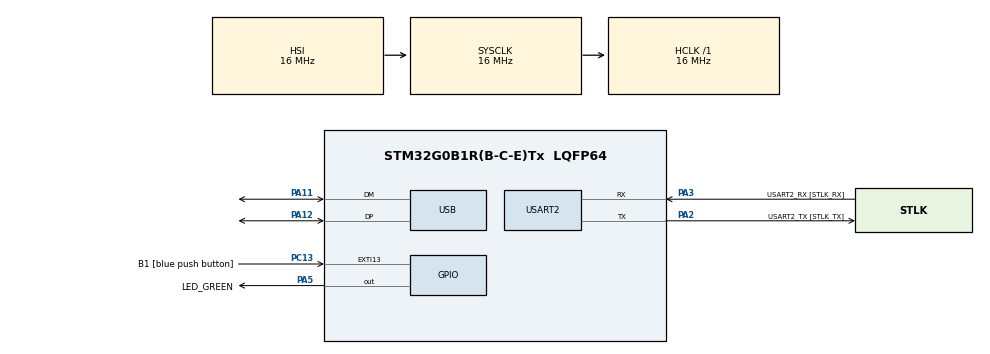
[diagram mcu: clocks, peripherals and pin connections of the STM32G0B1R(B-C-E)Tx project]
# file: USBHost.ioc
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Mcu.Family=STM32G0
Mcu.Name=STM32G0B1R(B-C-E)Tx
Mcu.Package=LQFP64
NVIC.USB_UCPD1_2_IRQn=true\:0\:0\:false\:false\:true\:true\:true\:true
PA11\ [PA9].Mode=Host
PA11\ [PA9].Signal=USB_DM
PA12\ [PA10].Mode=Host
PA12\ [PA10].Signal=USB_DP
PA13.GPIO_Label=TMS
PA13.Mode=Serial_Wire
PA13.Signal=SYS_SWDIO
PA14-BOOT0.GPIO_Label=TCK
PA14-BOOT0.Mode=Serial_Wire
PA14-BOOT0.Signal=SYS_SWCLK
PA2.GPIO_Label=USART2_TX [STLK_TX]
PA2.Mode=Asynchronous
PA2.Signal=USART2_TX
PA3.GPIO_Label=USART2_RX [STLK_RX]
PA3.Mode=Asynchronous
PA3.Signal=USART2_RX
PA5.GPIO_Label=LED_GREEN
PA5.GPIO_Speed=GPIO_SPEED_FREQ_HIGH
PA5.Signal=GPIO_Output
PC13.GPIO_Label=B1 [blue push button]
PC13.Signal=GPXTI13
PC14-OSC32_IN\ (PC14).Mode=LSE-External-Oscillator
PC14-OSC32_IN\ (PC14).Signal=RCC_OSC32_IN
PC15-OSC32_OUT\ (PC15).Mode=LSE-External-Oscillator
PC15-OSC32_OUT\ (PC15).Signal=RCC_OSC32_OUT
PF0-OSC_IN\ (PF0).GPIO_Label=MCO
PF0-OSC_IN\ (PF0).Mode=HSE-External-Clock-Source
PF0-OSC_IN\ (PF0).Signal=RCC_OSC_IN
ProjectManager.HeapSize=0x200
ProjectManager.StackSize=0x400
ProjectManager.TargetToolchain=STM32CubeIDE
RCC.AHBFreq_Value=16000000
RCC.CortexFreq_Value=16000000
RCC.EXTERNAL_CLOCK_VALUE=12288000
RCC.HCLKFreq_Value=16000000
RCC.HSE_VALUE=8000000
RCC.HSI48_VALUE=48000000
RCC.HSI_VALUE=16000000
RCC.SYSCLKFreq_VALUE=16000000
RCC.USBFreq_Value=48000000
RCC.VCOOutputFreq_Value=128000000
USART2.VirtualMode-Asynchronous=VM_ASYNC
USB_HOST.SW_VBUS_DRIVE_CDC_FS=true
USB_HOST.VirtualModeFS=Cdc
VP_SYS_VS_DBSignals.Mode=DisableDeadBatterySignals
VP_USB_HOST_VS_USB_HOST_CDC_FS.Mode=CDC_FS
board=NUCLEO-G0B1RE

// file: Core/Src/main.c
/* USER CODE BEGIN Header */
/**
 ******************************************************************************
 * @file           : main.c
 * @brief          : Main program body
 ******************************************************************************
 * @attention
 *
 * Copyright (c) 2025 STMicroelectronics.
 * All rights reserved.
 *
 * This software is licensed under terms that can be found in the LICENSE file
 * in the root directory of this software component.
 * If no LICENSE file comes with this software, it is provided AS-IS.
 *
 ******************************************************************************
 */
/* USER CODE END Header */
#include "main.h"
#include "usb_host.h"

/* USER CODE BEGIN Includes */

#include "usbh_cdc.h"
/* USER CODE END Includes */

UART_HandleTypeDef huart2;

/* USER CODE BEGIN PV */

extern USBH_HandleTypeDef hUsbHostFS;
extern ApplicationTypeDef Appli_state;
CDC_LineCodingTypeDef lineCoding;
CDC_HandleTypeDef *CDC_Handle;

uint16_t M_USB_STATE = USER_USB_IDLE;
uint16_t usb_readLength = 0;

/* USER CODE END PV */

void SystemClock_Config(void);
static void MX_GPIO_Init(void);
static void MX_USART2_UART_Init(void);
void MX_USB_HOST_Process(void);

uint8_t txBuff[32] = { 1, 2, 3, 4, 5 };
uint8_t rxBuff[32] = { 0, };

int main(void) {

	/* MCU Configuration--------------------------------------------------------*/

	/* Reset of all peripherals, Initializes the Flash interface and the Systick. */
	HAL_Init();

	/* Configure the system clock */
	SystemClock_Config();

	/* Initialize all configured peripherals */
	MX_GPIO_Init();
	MX_USART2_UART_Init();
	MX_USB_Host_Init();

	/* Infinite loop */
	while (1) {
		MX_USB_HOST_Process();

		/* USER CODE BEGIN 3 */
		// USB Host
				if (Appli_state == APPLICATION_READY) {
					// LampS connected to host and ready to communication

					switch (M_USB_STATE) {
						case USER_USB_IDLE:
							break;

						case USER_USB_SET_LINE_CODING:
							// set line coding
							// this state called when USB host state is HOST_USER_CLASS_ACTIVE
							// state changed at USBH_UserProcess() in usb_host.c
							lineCoding.b.dwDTERate = 115200;
							lineCoding.b.bCharFormat = 0;
							lineCoding.b.bDataBits = 8;
							lineCoding.b.bParityType = 0;

							USBH_CDC_SetLineCoding(&hUsbHostFS, &lineCoding);
							M_USB_STATE = USER_USB_IDLE;
							break;

						case USER_USB_SET_LINE_STATE:
							// set DTS and RTS for ACM device
							// this state called when line coding changed
							// state changed at USBH_CDC_LineCodingChanged() in main.c
							USBH_CDC_SetLineState(&hUsbHostFS, 0x03); // set DTS=1 and RTS=1
							M_USB_STATE = USER_USB_IDLE;
							break;

						case USER_USB_READ_DATA:
							break;

						case USER_USB_WRITE_DATA:
							txBuff[0] = 1;
							txBuff[1] = 2;
							txBuff[2] = 3;
							txBuff[3] = 4;

							usb_readLength = 8;
							if (USBH_CDC_Transmit(&hUsbHostFS, txBuff, 4) == USBH_OK) {

							}

							M_USB_STATE = USER_USB_IDLE;
							break;
					}
				}
	}
	/* USER CODE END 3 */
}

void SystemClock_Config(void) {
	RCC_OscInitTypeDef RCC_OscInitStruct = { 0 };
	RCC_ClkInitTypeDef RCC_ClkInitStruct = { 0 };

	/** Configure the main internal regulator output voltage
	 */
	HAL_PWREx_ControlVoltageScaling(PWR_REGULATOR_VOLTAGE_SCALE1);

	/** Initializes the RCC Oscillators according to the specified parameters
	 * in the RCC_OscInitTypeDef structure.
	 */
	RCC_OscInitStruct.OscillatorType = RCC_OSCILLATORTYPE_HSI
			| RCC_OSCILLATORTYPE_HSI48;
	RCC_OscInitStruct.HSIState = RCC_HSI_ON;
	RCC_OscInitStruct.HSI48State = RCC_HSI48_ON;
	RCC_OscInitStruct.HSIDiv = RCC_HSI_DIV1;
	RCC_OscInitStruct.HSICalibrationValue = RCC_HSICALIBRATION_DEFAULT;
	RCC_OscInitStruct.PLL.PLLState = RCC_PLL_NONE;
	if (HAL_RCC_OscConfig(&RCC_OscInitStruct) != HAL_OK) {
		Error_Handler();
	}

	/** Initializes the CPU, AHB and APB buses clocks
	 */
	RCC_ClkInitStruct.ClockType = RCC_CLOCKTYPE_HCLK | RCC_CLOCKTYPE_SYSCLK
			| RCC_CLOCKTYPE_PCLK1;
	RCC_ClkInitStruct.SYSCLKSource = RCC_SYSCLKSOURCE_HSI;
	RCC_ClkInitStruct.AHBCLKDivider = RCC_SYSCLK_DIV1;
	RCC_ClkInitStruct.APB1CLKDivider = RCC_HCLK_DIV1;

	if (HAL_RCC_ClockConfig(&RCC_ClkInitStruct, FLASH_LATENCY_0) != HAL_OK) {
		Error_Handler();
	}
}

static void MX_USART2_UART_Init(void) {

	huart2.Instance = USART2;
	huart2.Init.BaudRate = 115200;
	huart2.Init.WordLength = UART_WORDLENGTH_8B;
	huart2.Init.StopBits = UART_STOPBITS_1;
	huart2.Init.Parity = UART_PARITY_NONE;
	huart2.Init.Mode = UART_MODE_TX_RX;
	huart2.Init.HwFlowCtl = UART_HWCONTROL_NONE;
	huart2.Init.OverSampling = UART_OVERSAMPLING_16;
	huart2.Init.OneBitSampling = UART_ONE_BIT_SAMPLE_DISABLE;
	huart2.Init.ClockPrescaler = UART_PRESCALER_DIV1;
	huart2.AdvancedInit.AdvFeatureInit = UART_ADVFEATURE_NO_INIT;
	if (HAL_UART_Init(&huart2) != HAL_OK) {
		Error_Handler();
	}
	if (HAL_UARTEx_SetTxFifoThreshold(&huart2, UART_TXFIFO_THRESHOLD_1_8)
			!= HAL_OK) {
		Error_Handler();
	}
	if (HAL_UARTEx_SetRxFifoThreshold(&huart2, UART_RXFIFO_THRESHOLD_1_8)
			!= HAL_OK) {
		Error_Handler();
	}
	if (HAL_UARTEx_DisableFifoMode(&huart2) != HAL_OK) {
		Error_Handler();
	}

}

static void MX_GPIO_Init(void) {
	GPIO_InitTypeDef GPIO_InitStruct = { 0 };

	/* GPIO Ports Clock Enable */
	__HAL_RCC_GPIOC_CLK_ENABLE();
	__HAL_RCC_GPIOF_CLK_ENABLE();
	__HAL_RCC_GPIOA_CLK_ENABLE();

	/*Configure GPIO pin Output Level */
	HAL_GPIO_WritePin(LED_GREEN_GPIO_Port, LED_GREEN_Pin, GPIO_PIN_RESET);

	/*Configure GPIO pin : B1_Pin */
	GPIO_InitStruct.Pin = B1_Pin;
	GPIO_InitStruct.Mode = GPIO_MODE_IT_RISING;
	GPIO_InitStruct.Pull = GPIO_NOPULL;
	HAL_GPIO_Init(B1_GPIO_Port, &GPIO_InitStruct);

	/*Configure GPIO pin : LED_GREEN_Pin */
	GPIO_InitStruct.Pin = LED_GREEN_Pin;
	GPIO_InitStruct.Mode = GPIO_MODE_OUTPUT_PP;
	GPIO_InitStruct.Pull = GPIO_NOPULL;
	GPIO_InitStruct.Speed = GPIO_SPEED_FREQ_HIGH;
	HAL_GPIO_Init(LED_GREEN_GPIO_Port, &GPIO_InitStruct);

}

/* USER CODE BEGIN 4 */
/**
 * @brief  line coding changed callback
 * @param  phost: usb host handler
 * @retval None
 */
void USBH_CDC_LineCodingChanged(USBH_HandleTypeDef *phost) {
	// line coding done
	M_USB_STATE = USER_USB_SET_LINE_STATE;
}

/**
 * @brief  line state changed callback
 * @param  phost: usb host handler
 * @retval None
 */
void USBH_CDC_LineStateChanged(USBH_HandleTypeDef *phost) {
	M_USB_STATE = USER_USB_WRITE_DATA;
}

/**
 * @brief  cdc data received callback
 * @param  phost: usb host handler
 * @retval None
 */
void USBH_CDC_ReceiveCallback(USBH_HandleTypeDef *phost) {
	// read received data
	M_USB_STATE = USER_USB_IDLE;
}

/**
 * @brief  cdc data trasmit callback
 * @param  phost: usb host handler
 * @retval None
 */
void USBH_CDC_TransmitCallback(USBH_HandleTypeDef *phost) {
	// set read buffer for reading response data
	if (USBH_CDC_Receive(&hUsbHostFS, rxBuff, usb_readLength) == USBH_OK) {
		txBuff[0] = 0;
	}
	M_USB_STATE = USER_USB_IDLE;
}
/* USER CODE END 4 */

void Error_Handler(void) {
	__disable_irq();
	while (1) {
	}
}
